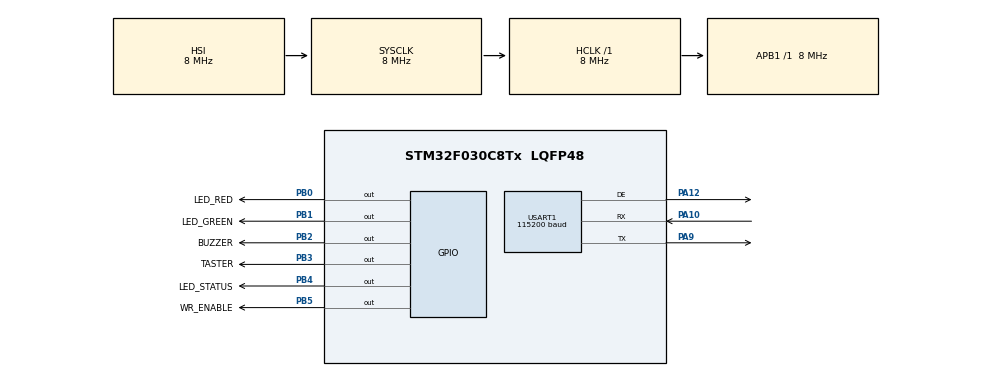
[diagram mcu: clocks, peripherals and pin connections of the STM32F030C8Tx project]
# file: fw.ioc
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Mcu.Family=STM32F0
Mcu.Name=STM32F030C8Tx
Mcu.Package=LQFP48
NVIC.USART1_IRQn=true\:0\:0\:false\:false\:true\:true\:true\:true
PA10.Mode=Asynchronous
PA10.Signal=USART1_RX
PA12.Mode=Hardware Flow Control (RS485)
PA12.Signal=USART1_DE
PA13.Mode=Serial_Wire
PA13.Signal=SYS_SWDIO
PA14.Mode=Serial_Wire
PA14.Signal=SYS_SWCLK
PA9.Mode=Asynchronous
PA9.Signal=USART1_TX
PB0.GPIO_Label=LED_RED
PB0.Signal=GPIO_Output
PB1.GPIO_Label=LED_GREEN
PB1.Signal=GPIO_Output
PB2.GPIO_Label=BUZZER
PB2.Signal=GPIO_Output
PB3.GPIO_Label=TASTER
PB3.GPIO_PuPd=GPIO_PULLUP
PB3.Signal=GPIO_Output
PB4.GPIO_Label=LED_STATUS
PB4.Signal=GPIO_Output
PB5.GPIO_Label=WR_ENABLE
PB5.GPIO_ModeDefaultOutputPP=GPIO_MODE_OUTPUT_OD
PB5.GPIO_PuPd=GPIO_NOPULL
PB5.GPIO_Speed=GPIO_SPEED_FREQ_HIGH
PB5.PinState=GPIO_PIN_SET
PB5.Signal=GPIO_Output
ProjectManager.HeapSize=0x200
ProjectManager.StackSize=0x400
ProjectManager.TargetToolchain=MDK-ARM V5.32
RCC.AHBFreq_Value=8000000
RCC.APB1Freq_Value=8000000
RCC.APB1TimFreq_Value=8000000
RCC.HCLKFreq_Value=8000000
RCC.PLLMUL=RCC_PLL_MUL12
RCC.RTCClockSelection=RCC_RTCCLKSOURCE_LSE
RCC.SYSCLKFreq_VALUE=8000000
USART1.BaudRate=115200
USART1.VirtualMode-Asynchronous=VM_ASYNC
USART1.VirtualMode-Hardware\ Flow\ Control\ (RS485)=VM_ASYNC
VP_CRC_VS_CRC.Mode=CRC_Activate
VP_IWDG_VS_IWDG.Mode=IWDG_Activate
board=custom

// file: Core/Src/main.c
/* USER CODE BEGIN Header */
/**
  ******************************************************************************
  * @file           : main.c
  * @brief          : Main program body
  ******************************************************************************
  * @attention
  *
  * Copyright (c) 2024 STMicroelectronics.
  * All rights reserved.
  *
  * This software is licensed under terms that can be found in the LICENSE file
  * in the root directory of this software component.
  * If no LICENSE file comes with this software, it is provided AS-IS.
  *
  ******************************************************************************
  */
/* USER CODE END Header */
#include "main.h"

/* USER CODE BEGIN Includes */
#include "logger.h"
#include "eeprom.h"
#include <stdlib.h>
/* USER CODE END Includes */

CRC_HandleTypeDef hcrc;
IWDG_HandleTypeDef hiwdg;
UART_HandleTypeDef huart1;
/* USER CODE BEGIN PV */
uint8_t buf[64], rep;
uint16_t crc;

/* USER CODE END PV */

void SystemClock_Config(void);
static void MX_GPIO_Init(void);
static void MX_IWDG_Init(void);
static void MX_USART1_UART_Init(void);
static void MX_CRC_Init(void);

int main(void)
{

	/* MCU Configuration--------------------------------------------------------*/

	/* Reset of all peripherals, Initializes the Flash interface and the Systick. */
	HAL_Init();

	/* Configure the system clock */
	SystemClock_Config();

	/* Initialize all configured peripherals */
	MX_GPIO_Init();
	MX_IWDG_Init();
	MX_USART1_UART_Init();
	MX_CRC_Init();

	/* Infinite loop */
	/* USER CODE BEGIN WHILE */
	while(1)
	{
		if(HAL_GPIO_ReadPin(TASTER_GPIO_Port, TASTER_Pin) == GPIO_PIN_RESET)
		{
			BuzzerOn();
            RedLedOn();
            buf[0] = 0x01;
			buf[1] = 0xFF;
			buf[2] = 0xFE;
			buf[3] = 0x01;
			buf[4] = 0xD1;
			crc = 0;

			for(rep = 0; rep < (buf[3] + 4); rep++)
			{
				crc += buf[rep];
			}
			buf[5] = (crc >> 8U);
			buf[6] = (crc & 0xFFU);
			buf[7] = EOT;
            BuzzerOn();
			rep = 10;
			do
			{
				HAL_UART_Transmit(&huart1, buf, 8, RESP_TOUT);
				HAL_Delay(200);
				--rep;
			}
			while(rep);
			BuzzerOff();
            RedLedOff();
			HAL_Delay(2000);
		}
		/* USER CODE END WHILE */

		/* USER CODE BEGIN 3 */
#ifdef	USE_WATCHDOG
		HAL_IWDG_Refresh(&hiwdg);
#endif
	}
	/* USER CODE END 3 */
}

void SystemClock_Config(void)
{
	RCC_OscInitTypeDef RCC_OscInitStruct = {0};
	RCC_ClkInitTypeDef RCC_ClkInitStruct = {0};
	RCC_PeriphCLKInitTypeDef PeriphClkInit = {0};

	/** Initializes the RCC Oscillators according to the specified parameters
	* in the RCC_OscInitTypeDef structure.
	*/
	RCC_OscInitStruct.OscillatorType = RCC_OSCILLATORTYPE_HSI | RCC_OSCILLATORTYPE_LSI;
	RCC_OscInitStruct.HSIState = RCC_HSI_ON;
	RCC_OscInitStruct.HSICalibrationValue = RCC_HSICALIBRATION_DEFAULT;
	RCC_OscInitStruct.LSIState = RCC_LSI_ON;
	RCC_OscInitStruct.PLL.PLLState = RCC_PLL_NONE;
	if(HAL_RCC_OscConfig(&RCC_OscInitStruct) != HAL_OK)
	{
		Error_Handler();
	}

	/** Initializes the CPU, AHB and APB buses clocks
	*/
	RCC_ClkInitStruct.ClockType = RCC_CLOCKTYPE_HCLK | RCC_CLOCKTYPE_SYSCLK
	                              | RCC_CLOCKTYPE_PCLK1;
	RCC_ClkInitStruct.SYSCLKSource = RCC_SYSCLKSOURCE_HSI;
	RCC_ClkInitStruct.AHBCLKDivider = RCC_SYSCLK_DIV1;
	RCC_ClkInitStruct.APB1CLKDivider = RCC_HCLK_DIV1;

	if(HAL_RCC_ClockConfig(&RCC_ClkInitStruct, FLASH_LATENCY_0) != HAL_OK)
	{
		Error_Handler();
	}
	PeriphClkInit.PeriphClockSelection = RCC_PERIPHCLK_USART1;
	PeriphClkInit.Usart1ClockSelection = RCC_USART1CLKSOURCE_PCLK1;
	if(HAL_RCCEx_PeriphCLKConfig(&PeriphClkInit) != HAL_OK)
	{
		Error_Handler();
	}
}

static void MX_CRC_Init(void)
{

	hcrc.Instance = CRC;
	hcrc.Init.DefaultInitValueUse = DEFAULT_INIT_VALUE_ENABLE;
	hcrc.Init.InputDataInversionMode = CRC_INPUTDATA_INVERSION_NONE;
	hcrc.Init.OutputDataInversionMode = CRC_OUTPUTDATA_INVERSION_DISABLE;
	hcrc.InputDataFormat = CRC_INPUTDATA_FORMAT_BYTES;
	if(HAL_CRC_Init(&hcrc) != HAL_OK)
	{
		Error_Handler();
	}
}
static void MX_IWDG_Init(void)
{
	/* USER CODE BEGIN IWDG_Init 0 */
#ifdef USE_WATCHDOG
	/* USER CODE END IWDG_Init 0 */

	hiwdg.Instance = IWDG;
	hiwdg.Init.Prescaler = IWDG_PRESCALER_32;
	hiwdg.Init.Window = 4095;
	hiwdg.Init.Reload = 4095;
	if(HAL_IWDG_Init(&hiwdg) != HAL_OK)
	{
		Error_Handler();
	}
	/* USER CODE BEGIN IWDG_Init 2 */
#endif
	/* USER CODE END IWDG_Init 2 */
}

static void MX_USART1_UART_Init(void)
{

	huart1.Instance = USART1;
	huart1.Init.BaudRate = 115200;
	huart1.Init.WordLength = UART_WORDLENGTH_8B;
	huart1.Init.StopBits = UART_STOPBITS_1;
	huart1.Init.Parity = UART_PARITY_NONE;
	huart1.Init.Mode = UART_MODE_TX_RX;
	huart1.Init.HwFlowCtl = UART_HWCONTROL_NONE;
	huart1.Init.OverSampling = UART_OVERSAMPLING_16;
	huart1.Init.OneBitSampling = UART_ONE_BIT_SAMPLE_DISABLE;
	huart1.AdvancedInit.AdvFeatureInit = UART_ADVFEATURE_NO_INIT;
	if(HAL_RS485Ex_Init(&huart1, UART_DE_POLARITY_HIGH, 0, 0) != HAL_OK)
	{
		Error_Handler();
	}
}

static void MX_GPIO_Init(void)
{
	GPIO_InitTypeDef GPIO_InitStruct = {0};

	/* GPIO Ports Clock Enable */
	__HAL_RCC_GPIOC_CLK_ENABLE();
	__HAL_RCC_GPIOF_CLK_ENABLE();
	__HAL_RCC_GPIOA_CLK_ENABLE();
	__HAL_RCC_GPIOB_CLK_ENABLE();

	/*Configure GPIO pin Output Level */
	HAL_GPIO_WritePin(GPIOB, LED_RED_Pin | LED_GREEN_Pin | BUZZER_Pin | TASTER_Pin
	                  | LED_STATUS_Pin, GPIO_PIN_RESET);

	/*Configure GPIO pin Output Level */
	HAL_GPIO_WritePin(WR_ENABLE_GPIO_Port, WR_ENABLE_Pin, GPIO_PIN_SET);

	/*Configure GPIO pins : PC13 PC14 PC15 */
	GPIO_InitStruct.Pin = GPIO_PIN_13 | GPIO_PIN_14 | GPIO_PIN_15;
	GPIO_InitStruct.Mode = GPIO_MODE_ANALOG;
	GPIO_InitStruct.Pull = GPIO_NOPULL;
	HAL_GPIO_Init(GPIOC, &GPIO_InitStruct);

	/*Configure GPIO pins : PF0 PF1 PF6 PF7 */
	GPIO_InitStruct.Pin = GPIO_PIN_0 | GPIO_PIN_1 | GPIO_PIN_6 | GPIO_PIN_7;
	GPIO_InitStruct.Mode = GPIO_MODE_ANALOG;
	GPIO_InitStruct.Pull = GPIO_NOPULL;
	HAL_GPIO_Init(GPIOF, &GPIO_InitStruct);

	/*Configure GPIO pins : PA0 PA1 PA2 PA3
	                         PA4 PA5 PA6 PA7
	                         PA8 PA11 PA15 */
	GPIO_InitStruct.Pin = GPIO_PIN_0 | GPIO_PIN_1 | GPIO_PIN_2 | GPIO_PIN_3
	                      | GPIO_PIN_4 | GPIO_PIN_5 | GPIO_PIN_6 | GPIO_PIN_7
	                      | GPIO_PIN_8 | GPIO_PIN_11 | GPIO_PIN_15;
	GPIO_InitStruct.Mode = GPIO_MODE_ANALOG;
	GPIO_InitStruct.Pull = GPIO_NOPULL;
	HAL_GPIO_Init(GPIOA, &GPIO_InitStruct);

	/*Configure GPIO pins : LED_RED_Pin LED_GREEN_Pin BUZZER_Pin LED_STATUS_Pin */
	GPIO_InitStruct.Pin = LED_RED_Pin | LED_GREEN_Pin | BUZZER_Pin | LED_STATUS_Pin;
	GPIO_InitStruct.Mode = GPIO_MODE_OUTPUT_PP;
	GPIO_InitStruct.Pull = GPIO_NOPULL;
	GPIO_InitStruct.Speed = GPIO_SPEED_FREQ_LOW;
	HAL_GPIO_Init(GPIOB, &GPIO_InitStruct);

	/*Configure GPIO pins : PB10 PB11 PB12 PB13
	                         PB14 PB15 PB6 PB7
	                         PB8 PB9 */
	GPIO_InitStruct.Pin = GPIO_PIN_10 | GPIO_PIN_11 | GPIO_PIN_12 | GPIO_PIN_13
	                      | GPIO_PIN_14 | GPIO_PIN_15 | GPIO_PIN_6 | GPIO_PIN_7
	                      | GPIO_PIN_8 | GPIO_PIN_9;
	GPIO_InitStruct.Mode = GPIO_MODE_ANALOG;
	GPIO_InitStruct.Pull = GPIO_NOPULL;
	HAL_GPIO_Init(GPIOB, &GPIO_InitStruct);

	/*Configure GPIO pin : TASTER_Pin */
	GPIO_InitStruct.Pin = TASTER_Pin;
	GPIO_InitStruct.Mode = GPIO_MODE_INPUT;
	GPIO_InitStruct.Pull = GPIO_PULLUP;
	GPIO_InitStruct.Speed = GPIO_SPEED_FREQ_LOW;
	HAL_GPIO_Init(TASTER_GPIO_Port, &GPIO_InitStruct);

	/*Configure GPIO pin : WR_ENABLE_Pin */
	GPIO_InitStruct.Pin = WR_ENABLE_Pin;
	GPIO_InitStruct.Mode = GPIO_MODE_OUTPUT_OD;
	GPIO_InitStruct.Pull = GPIO_NOPULL;
	GPIO_InitStruct.Speed = GPIO_SPEED_FREQ_HIGH;
	HAL_GPIO_Init(WR_ENABLE_GPIO_Port, &GPIO_InitStruct);

}

/* USER CODE BEGIN 4 */
/**
  * @brief
  * @param
  * @retval
  */
void HAL_UART_RxCpltCallback(UART_HandleTypeDef *huart)
{
}
/**
  * @brief
  * @param
  * @retval
  */
void HAL_UART_TxCpltCallback(UART_HandleTypeDef *huart)
{
}
/**
  * @brief
  * @param
  * @retval
  */
void HAL_UART_ErrorCallback(UART_HandleTypeDef *huart)
{
	Error_Handler();
}
/* USER CODE END 4 */

void Error_Handler(void)
{
	/* USER CODE BEGIN Error_Handler_Debug */
	/* User can add his own implementation to report the HAL error return state */
	__disable_irq();
	/* USER CODE BEGIN Init */
	HAL_CRC_MspDeInit(&hcrc);
	HAL_UART_MspDeInit(&huart1);
	HAL_DeInit();
	HAL_NVIC_SystemReset();
	/* USER CODE END Init */

	while(1)
	{
	}
	/* USER CODE END Error_Handler_Debug */
}
